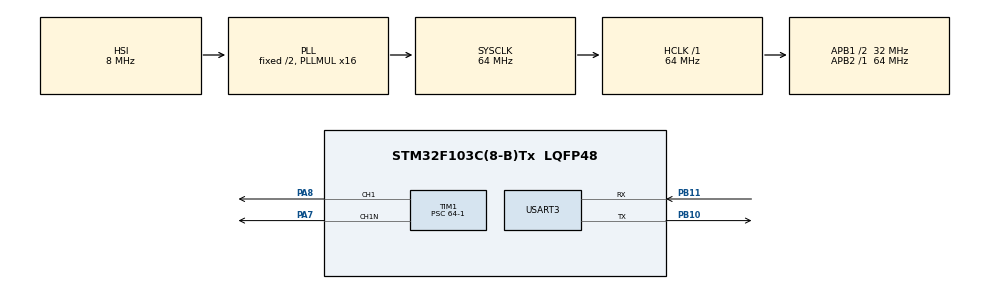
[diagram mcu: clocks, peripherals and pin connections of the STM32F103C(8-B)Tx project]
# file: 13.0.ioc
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Mcu.Family=STM32F1
Mcu.Name=STM32F103C(8-B)Tx
Mcu.Package=LQFP48
NVIC.PriorityGroup=NVIC_PRIORITYGROUP_4
NVIC.TIM2_IRQn=true\:0\:0\:false\:false\:true\:true\:true
PA7.Mode=PWM Generation1 CH1 CH1N
PA7.Signal=TIM1_CH1N
PA8.Signal=S_TIM1_CH1
PB10.Mode=Asynchronous
PB10.Signal=USART3_TX
PB11.Mode=Asynchronous
PB11.Signal=USART3_RX
ProjectManager.HeapSize=0x200
ProjectManager.StackSize=0x400
ProjectManager.TargetToolchain=MDK-ARM V5
RCC.AHBFreq_Value=64000000
RCC.APB1CLKDivider=RCC_HCLK_DIV2
RCC.APB1Freq_Value=32000000
RCC.APB1TimFreq_Value=64000000
RCC.APB2Freq_Value=64000000
RCC.APB2TimFreq_Value=64000000
RCC.HCLKFreq_Value=64000000
RCC.PLLMUL=RCC_PLL_MUL16
RCC.SYSCLKFreq_VALUE=64000000
RCC.SYSCLKSource=RCC_SYSCLKSOURCE_PLLCLK
RCC.USBFreq_Value=64000000
SH.S_TIM1_CH1.0=TIM1_CH1,PWM Generation1 CH1 CH1N
TIM1.Channel-PWM\ Generation1\ CH1\ CH1N=TIM_CHANNEL_1
TIM1.DeadTime=1
TIM1.Period=3200
TIM1.Prescaler=64-1
TIM2.AutoReloadPreload=TIM_AUTORELOAD_PRELOAD_ENABLE
TIM2.Period=1200-1
TIM2.Prescaler=64-1
USART3.VirtualMode=VM_ASYNC
VP_SYS_VS_ND.Mode=No_Debug
VP_TIM2_VS_ClockSourceINT.Mode=Internal
board=custom

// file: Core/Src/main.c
/* USER CODE BEGIN Header */
/**
  ******************************************************************************
  * @file           : main.c
  * @brief          : Main program body
  ******************************************************************************
  * @attention
  *
  * <h2><center>&copy; Copyright (c) 2021 STMicroelectronics.
  * All rights reserved.</center></h2>
  *
  * This software component is licensed by ST under BSD 3-Clause license,
  * the "License"; You may not use this file except in compliance with the
  * License. You may obtain a copy of the License at:
  *                        opensource.org/licenses/BSD-3-Clause
  *
  ******************************************************************************
  */
/* USER CODE END Header */
#include "main.h"
#include "tim.h"
#include "usart.h"
#include "gpio.h"

/* USER CODE BEGIN Includes */
#include "stdio.h"
#include "stdlib.h"
#ifdef __GNUC__
	#define PUTCHAR_PROTOTYPE int _io_putchar(int ch)
#else
	#define PUTCHAR_PROTOTYPE int fputc(int ch, FILE *f)
#endif /* __GNUC__*/

PUTCHAR_PROTOTYPE
{
	HAL_UART_Transmit(&huart3, (uint8_t *)&ch, 1, 0xFFFF);
	return ch;
}

/* USER CODE END Includes */

/* USER CODE BEGIN PM */

 int sine[]={0,20,41,62,83,104,124,145,166,186,206,226,246,266,286,305,
324,343,362,381,399,417,435,452,469,486,502,518,534,549,564,579,
593,607,620,633,646,658,670,681,691,702,711,721,729,738,745,753,
759,766,771,776,781,785,789,792,794,796,797,798,799,798,797,796,
794,792,789,785,781,776,771,766,759,753,745,738,729,721,711,702,
691,681,670,658,646,633,620,607,593,579,564,549,534,518,502,486,
469,452,435,417,399,381,362,343,324,305,286,266,246,226,206,186,
166,145,124,104,83,62,41,20,0,-20,-41,-62,-83,-104,-124,-145,
-166,-186,-206,-226,-246,-266,-286,-305,-324,-343,-362,-381,-399,-417,-435,-452,
-469,-486,-502,-518,-534,-549,-564,-579,-593,-607,-620,-633,-646,-658,-670,-681,
-691,-702,-711,-721,-729,-738,-745,-753,-759,-766,-771,-776,-781,-785,-789,-792,
-794,-796,-797,-798,-799,-798,-797,-796,-794,-792,-789,-785,-781,-776,-771,-766,
-759,-753,-745,-738,-729,-721,-711,-702,-691,-681,-670,-658,-646,-633,-620,-607,
-593,-579,-564,-549,-534,-518,-502,-486,-469,-452,-435,-417,-399,-381,-362,-343,
-324,-305,-286,-266,-246,-226,-206,-186,-166,-145,-124,-104,-83,-62,-41,-20
 };

/* USER CODE END PM */

void SystemClock_Config(void);

/* USER CODE BEGIN 0 */
 int i=0;
 void HAL_TIM_PeriodElapsedCallback(TIM_HandleTypeDef *htim)
{
   if(htim==(&htim2))
    {
       TIM1->CCR1 = 800-(sine[i+1]*10/10);
			 if(i>239)
				 i=0;
			 i++;
    }

}
/* USER CODE END 0 */

int main(void)
{

  /* MCU Configuration--------------------------------------------------------*/

  /* Reset of all peripherals, Initializes the Flash interface and the Systick. */
  HAL_Init();

  /* Configure the system clock */
  SystemClock_Config();

  /* Initialize all configured peripherals */
  MX_GPIO_Init();
  MX_TIM1_Init();
  MX_USART3_UART_Init();
  MX_TIM2_Init();
  /* USER CODE BEGIN 2 */
  HAL_TIM_PWM_Start(&htim1,TIM_CHANNEL_1);
	HAL_TIMEx_PWMN_Start(&htim1,TIM_CHANNEL_1);
  TIM1->CCR1 = 800-sine[0];
	HAL_TIM_Base_Start_IT(&htim2);
	printf("0\r\n");
  /* USER CODE END 2 */

  /* Infinite loop */
  while (1)
  {

  }
}

void SystemClock_Config(void)
{
  RCC_OscInitTypeDef RCC_OscInitStruct = {0};
  RCC_ClkInitTypeDef RCC_ClkInitStruct = {0};

  /** Initializes the RCC Oscillators according to the specified parameters
  * in the RCC_OscInitTypeDef structure.
  */
  RCC_OscInitStruct.OscillatorType = RCC_OSCILLATORTYPE_HSI;
  RCC_OscInitStruct.HSIState = RCC_HSI_ON;
  RCC_OscInitStruct.HSICalibrationValue = RCC_HSICALIBRATION_DEFAULT;
  RCC_OscInitStruct.PLL.PLLState = RCC_PLL_ON;
  RCC_OscInitStruct.PLL.PLLSource = RCC_PLLSOURCE_HSI_DIV2;
  RCC_OscInitStruct.PLL.PLLMUL = RCC_PLL_MUL16;
  if (HAL_RCC_OscConfig(&RCC_OscInitStruct) != HAL_OK)
  {
    Error_Handler();
  }
  /** Initializes the CPU, AHB and APB buses clocks
  */
  RCC_ClkInitStruct.ClockType = RCC_CLOCKTYPE_HCLK|RCC_CLOCKTYPE_SYSCLK
                              |RCC_CLOCKTYPE_PCLK1|RCC_CLOCKTYPE_PCLK2;
  RCC_ClkInitStruct.SYSCLKSource = RCC_SYSCLKSOURCE_PLLCLK;
  RCC_ClkInitStruct.AHBCLKDivider = RCC_SYSCLK_DIV1;
  RCC_ClkInitStruct.APB1CLKDivider = RCC_HCLK_DIV2;
  RCC_ClkInitStruct.APB2CLKDivider = RCC_HCLK_DIV1;

  if (HAL_RCC_ClockConfig(&RCC_ClkInitStruct, FLASH_LATENCY_2) != HAL_OK)
  {
    Error_Handler();
  }
}

void Error_Handler(void)
{
  __disable_irq();
  while (1)
  {
  }
}

/************************ (C) COPYRIGHT STMicroelectronics *****END OF FILE****/
